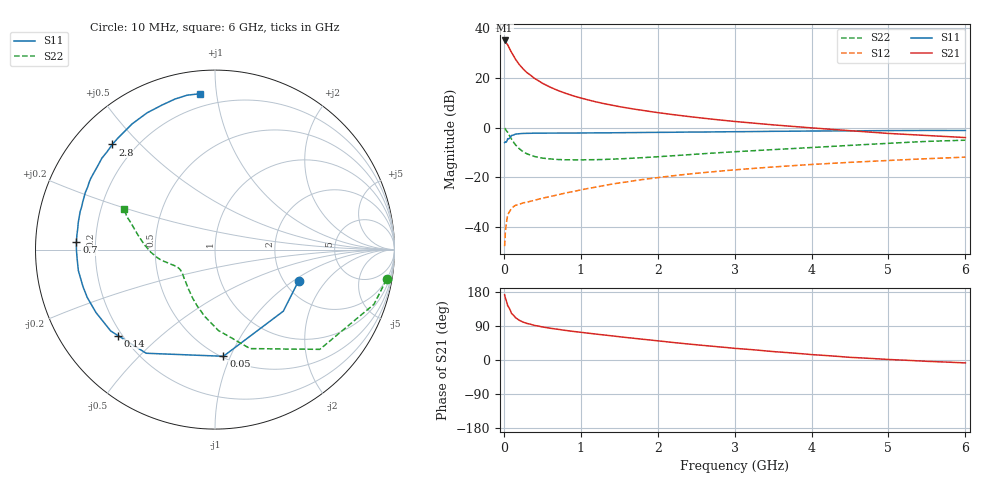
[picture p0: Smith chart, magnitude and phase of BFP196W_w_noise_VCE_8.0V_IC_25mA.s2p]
! (c) 2017  Infineon Technologies AG, Munich
! Infineon Technologies  Discrete & RF Semiconductors
! BFP196W
! VCE =  8.0 V,  IC =  25 mA
! Common Emitter S-Parameters:  Jan 2017
# GHz  S  MA  R  50
!  f  S11  S21  S12  S22
! GHz  MAG  ANG  MAG  ANG  MAG  ANG  MAG  ANG
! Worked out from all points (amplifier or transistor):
!   77 points, 10 MHz to 6 GHz, reference 50 ohm
!   highest |S21| = 35.0 dB at 10 MHz (marker M1)
!   |S21| within 3 dB of that: start of sweep to 70.06 MHz
!   unconditionally stable (mu >= 1): 903.5 MHz to 3.156 GHz
!   at 130 MHz: K = 0.27, MSG = 30.2 dB, |S12| = -31.8 dB
!   at 2.2 GHz: K = 1.05, MAG = 10.9 dB, |S12| = -19.4 dB
!   at 6 GHz: K = 0.90, MSG = 3.9 dB, |S12| = -11.9 dB
!   lowest NFmin = 1.07 dB at 450 MHz
!   S11 on the Smith chart (normalised r, x): 10 MHz: 2.38, -1.11; 50 MHz: 0.51, -0.94; 140 MHz: 0.18, -0.37; 700 MHz: 0.13, +0.03; 2.8 GHz: 0.12, +0.42; 6 GHz: 0.12, +0.90
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0.01  0.4971 -20.6  56.44 172.2  0.0041 77.2  0.9708 -9.8
0.02  0.5124 -42.0  54.42 163.6  0.0077 78.4  0.9367 -19.0
0.05  0.5962 -85.5  45.99 143.4  0.0174 58.5  0.8061 -43.6
0.1  0.6933 -123.6  32.36 122.8  0.0238 44.1  0.5856 -70.4
0.14  0.7224 -138.5  25.45 114.7  0.0265 38.8  0.4739 -83.4
0.15  0.7369 -142.0  23.83 111.9  0.0272 37.7  0.4509 -87.6
0.2  0.7502 -152.2  18.57 104.9  0.0284 35.6  0.3753 -99.0
0.25  0.7601 -159.5  15.14 100.0  0.0305 35.3  0.3269 -108.0
0.3  0.7639 -164.3  12.74 96.5  0.0314 35.4  0.296 -115.1
0.4  0.7703 -171.3  9.698 91.2  0.0344 38.8  0.2608 -125.4
0.5  0.7698 -176.2  7.786 87.3  0.0378 41.9  0.2426 -132.5
0.6  0.7722 -180.0  6.515 83.9  0.0408 44.7  0.2337 -137.9
0.7  0.7735 176.8  5.584 81.1  0.0441 47.4  0.2272 -141.8
0.9  0.7736 171.3  4.345 75.5  0.0515 50.5  0.2239 -147.0
1.1  0.7781 166.5  3.577 70.7  0.0596 52.9  0.2248 -150.6
1.5  0.7858 158.2  2.635 61.5  0.0766 55.4  0.234 -156.0
2.1  0.8003 146.3  1.905 48.5  0.1026 54.6  0.2641 -162.7
2.8  0.819 134.3  1.422 34.6  0.1322 51.3  0.3115 -170.0
3.1  0.8255 129.5  1.283 29.3  0.1446 49.2  0.332 -173.4
4.1  0.8514 115.1  0.958 13.0  0.1841 42.2  0.4036 174.4
5.1  0.8687 104.0  0.746 0.5  0.2208 34.8  0.4898 162.6
6  0.8722 95.6  0.628 -7.7  0.2535 27.9  0.5556 155.9
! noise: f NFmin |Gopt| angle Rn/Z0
0.45  1.07  0.43  175  0.05
0.9  1.24  0.51  -179  0.06
1.9  2.11  0.68  -152  0.12
2.4  2.53  0.74  -146  0.21
